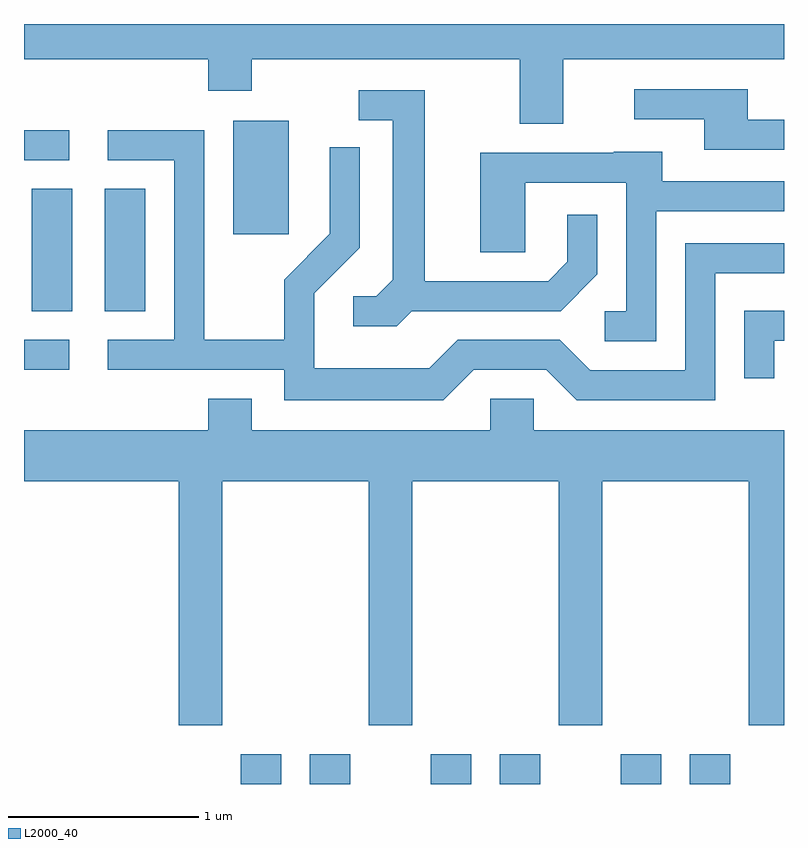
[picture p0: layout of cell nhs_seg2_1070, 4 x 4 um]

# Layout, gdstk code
import gdstk
lib = gdstk.Library(unit=1e-6, precision=1e-09)
def R(c, l, rs):  # rectangles x0, y0, x1, y1
    for r in rs: c.add(gdstk.rectangle(r[:2], r[2:], *l))
def P(c, l, *ps):  # polygons
    for p in ps: c.add(gdstk.Polygon(p, *l))
L2000_40 = (2000, 40)

nhs_seg2_1070 = lib.new_cell('nhs_seg2_1070')
R(nhs_seg2_1070, L2000_40, [(216.751,1077.802,216.964,1077.959), (217.116,1077.802,217.329,1077.959), (217.751,1077.802,217.964,1077.959), (218.116,1077.802,218.329,1077.959), (218.751,1077.802,218.964,1077.959), (219.116,1077.802,219.329,1077.959), (215.611,1079.981,215.848,1080.139), (215.651,1080.291,215.864,1080.934), (216.036,1080.291,216.249,1080.934), (216.711,1080.696,217.004,1081.294), (215.611,1081.086,215.848,1081.244)])
P(nhs_seg2_1070, L2000_40, [(218.449,1081.616),(219.611,1081.616),(219.611,1081.802),(215.611,1081.802),(215.611,1081.616),(216.581,1081.616),(216.581,1081.451),(216.809,1081.451),(216.809,1081.616),(218.221,1081.616),(218.221,1081.276),(218.449,1081.276)],
  [(219.611,1081.299),(219.419,1081.299),(219.419,1081.459),(218.823,1081.459),(218.823,1081.301),(219.191,1081.301),(219.191,1081.141),(219.611,1081.141)],
  [(217.652,1080.291),(218.437,1080.291),(218.629,1080.484),(218.629,1080.798),(218.471,1080.798),(218.471,1080.552),(218.369,1080.449),(217.719,1080.449),(217.719,1081.454),(217.373,1081.454),(217.373,1081.296),(217.551,1081.296),(217.551,1080.457),(217.464,1080.369),(217.343,1080.369),(217.343,1080.211),(217.572,1080.211)],
  [(217.977,1079.981),(218.359,1079.981),(218.519,1079.821),(219.249,1079.821),(219.249,1080.491),(219.611,1080.491),(219.611,1080.649),(219.091,1080.649),(219.091,1079.979),(218.592,1079.979),(218.432,1080.139),(217.894,1080.139),(217.744,1079.989),(217.139,1079.989),(217.139,1080.384),(217.379,1080.624),(217.379,1081.153),(217.221,1081.153),(217.221,1080.697),(216.981,1080.457),(216.981,1080.139),(216.559,1080.139),(216.559,1081.244),(216.053,1081.244),(216.053,1081.086),(216.401,1081.086),(216.401,1080.139),(216.053,1080.139),(216.053,1079.981),(216.981,1079.981),(216.981,1079.821),(217.817,1079.821)],
  [(218.939,1080.816),(219.611,1080.816),(219.611,1080.974),(218.969,1080.974),(218.969,1081.129),(218.715,1081.129),(218.715,1081.124),(218.011,1081.124),(218.011,1080.601),(218.249,1080.601),(218.249,1080.966),(218.781,1080.966),(218.781,1080.289),(218.668,1080.289),(218.668,1080.131),(218.939,1080.131)],
  [(219.559,1080.136),(219.611,1080.136),(219.611,1080.294),(219.401,1080.294),(219.401,1079.938),(219.559,1079.938)],
  [(216.654,1079.396),(217.426,1079.396),(217.426,1078.111),(217.654,1078.111),(217.654,1079.396),(218.426,1079.396),(218.426,1078.111),(218.654,1078.111),(218.654,1079.396),(219.426,1079.396),(219.426,1078.111),(219.611,1078.111),(219.611,1079.664),(218.294,1079.664),(218.294,1079.829),(218.066,1079.829),(218.066,1079.664),(216.809,1079.664),(216.809,1079.829),(216.581,1079.829),(216.581,1079.664),(215.611,1079.664),(215.611,1079.396),(216.426,1079.396),(216.426,1078.111),(216.654,1078.111)])

lib.write_gds('nhs_seg2_1070.gds')
